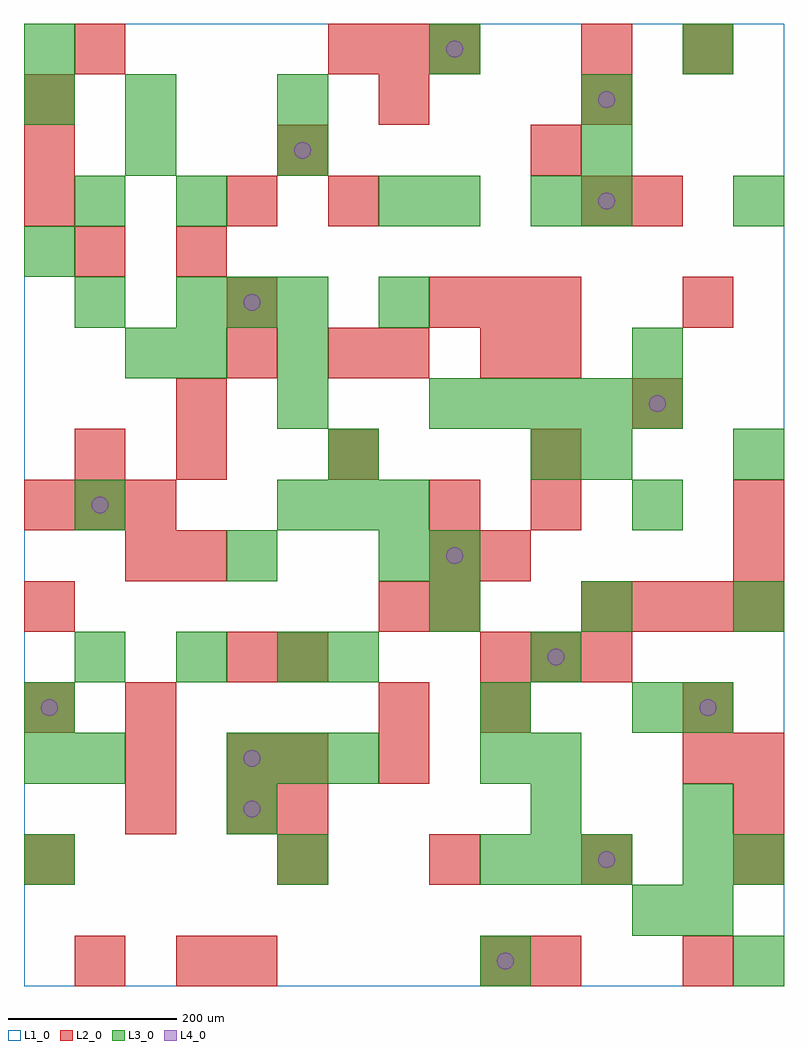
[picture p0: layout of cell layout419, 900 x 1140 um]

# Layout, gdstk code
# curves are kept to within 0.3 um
import gdstk
lib = gdstk.Library(unit=1e-6, precision=1e-09)
def R(c, l, rs):  # rectangles x0, y0, x1, y1
    for r in rs: c.add(gdstk.rectangle(r[:2], r[2:], *l))
def A(c, l, x, y, w, h, nx, ny, dx, dy):  # array of equal rectangles
    R(c, l, [(x+i*dx, y+j*dy, x+i*dx+w, y+j*dy+h) for i in range(nx) for j in range(ny)])
def P(c, l, *ps):  # polygons
    for p in ps: c.add(gdstk.Polygon(p, *l))
L1_0 = (1, 0)
L2_0 = (2, 0)
L3_0 = (3, 0)
L4_0 = (4, 0)

layout419 = lib.new_cell('layout419')
R(layout419, L1_0, [(0,0,900,1140)])
A(layout419, L2_0, 300, 120, 60, 60, 4, 1, 180, 0)
A(layout419, L2_0, 120, 180, 60, 60, 1, 3, 0, 60)
A(layout419, L2_0, 540, 360, 60, 60, 3, 1, 60, 0)
A(layout419, L2_0, 420, 420, 60, 60, 1, 3, 0, 300)
A(layout419, L2_0, 480, 420, 60, 60, 1, 3, 0, 60)
A(layout419, L2_0, 660, 420, 60, 60, 4, 1, 60, 0)
A(layout419, L2_0, 0, 540, 60, 60, 3, 1, 60, 0)
A(layout419, L2_0, 60, 600, 60, 60, 1, 3, 0, 240)
A(layout419, L2_0, 480, 780, 60, 60, 3, 1, 60, 0)
A(layout419, L2_0, 0, 960, 60, 60, 3, 1, 300, 0)
A(layout419, L2_0, 360, 1080, 60, 60, 3, 1, 60, 0)
R(layout419, L2_0, [(60,0,120,60), (180,0,240,60), (240,0,300,60), (540,0,600,60), (600,0,660,60), (780,0,840,60), (0,120,60,180), (240,180,300,240), (300,180,360,240), (840,180,900,240), (240,240,300,300), (300,240,360,300), (420,240,480,300), (780,240,840,300), (840,240,900,300), (0,300,60,360), (420,300,480,360), (540,300,600,360), (780,300,840,360), (240,360,300,420), (300,360,360,420), (0,420,60,480), (120,480,180,540), (180,480,240,540), (540,480,600,540), (840,480,900,540), (600,540,660,600), (840,540,900,600), (180,600,240,660), (360,600,420,660), (600,600,660,660), (180,660,240,720), (720,660,780,720), (240,720,300,780), (360,720,420,780), (540,720,600,780), (600,720,660,780), (240,780,300,840), (780,780,840,840), (180,840,240,900), (0,900,60,960), (240,900,300,960), (360,900,420,960), (660,900,720,960), (720,900,780,960), (0,1020,60,1080), (660,1020,720,1080), (660,1080,720,1140), (780,1080,840,1140)])
A(layout419, L3_0, 720, 60, 60, 60, 1, 3, 0, 240)
A(layout419, L3_0, 780, 60, 60, 60, 1, 3, 0, 60)
A(layout419, L3_0, 540, 120, 60, 60, 3, 1, 60, 0)
A(layout419, L3_0, 240, 240, 60, 60, 3, 1, 60, 0)
A(layout419, L3_0, 60, 360, 60, 60, 3, 1, 120, 0)
A(layout419, L3_0, 480, 420, 60, 60, 3, 1, 180, 0)
A(layout419, L3_0, 300, 540, 60, 60, 3, 1, 60, 0)
A(layout419, L3_0, 480, 660, 60, 60, 5, 1, 60, 0)
A(layout419, L3_0, 180, 780, 60, 60, 3, 1, 60, 0)
A(layout419, L3_0, 660, 900, 60, 60, 1, 3, 0, 60)
R(layout419, L3_0, [(540,0,600,60), (840,0,900,60), (0,120,60,180), (300,120,360,180), (840,120,900,180), (240,180,300,240), (600,180,660,240), (0,240,60,300), (60,240,120,300), (540,240,600,300), (600,240,660,300), (0,300,60,360), (540,300,600,360), (780,300,840,360), (360,360,420,420), (600,360,660,420), (240,480,300,540), (420,480,480,540), (480,480,540,540), (60,540,120,600), (360,600,420,660), (600,600,660,660), (660,600,720,660), (840,600,900,660), (300,660,360,720), (120,720,180,780), (180,720,240,780), (300,720,360,780), (720,720,780,780), (60,780,120,840), (420,780,480,840), (0,840,60,900), (60,900,120,960), (180,900,240,960), (420,900,480,960), (480,900,540,960), (600,900,660,960), (840,900,900,960), (120,960,180,1020), (300,960,360,1020), (0,1020,60,1080), (120,1020,180,1080), (300,1020,360,1080), (0,1080,60,1140), (480,1080,540,1140), (780,1080,840,1140)])
P(layout419, L4_0, [(40,330),(39.239,333.827),(37.071,337.071),(33.827,339.239),(30,340),(26.173,339.239),(22.929,337.071),(20.761,333.827),(20,330),(20.761,326.173),(22.929,322.929),(26.173,320.761),(30,320),(33.827,320.761),(37.071,322.929),(39.239,326.173)],
  [(100,570),(99.239,573.827),(97.071,577.071),(93.827,579.239),(90,580),(86.173,579.239),(82.929,577.071),(80.761,573.827),(80,570),(80.761,566.173),(82.929,562.929),(86.173,560.761),(90,560),(93.827,560.761),(97.071,562.929),(99.239,566.173)],
  [(280,210),(279.239,213.827),(277.071,217.071),(273.827,219.239),(270,220),(266.173,219.239),(262.929,217.071),(260.761,213.827),(260,210),(260.761,206.173),(262.929,202.929),(266.173,200.761),(270,200),(273.827,200.761),(277.071,202.929),(279.239,206.173)],
  [(280,270),(279.239,273.827),(277.071,277.071),(273.827,279.239),(270,280),(266.173,279.239),(262.929,277.071),(260.761,273.827),(260,270),(260.761,266.173),(262.929,262.929),(266.173,260.761),(270,260),(273.827,260.761),(277.071,262.929),(279.239,266.173)],
  [(280,810),(279.239,813.827),(277.071,817.071),(273.827,819.239),(270,820),(266.173,819.239),(262.929,817.071),(260.761,813.827),(260,810),(260.761,806.173),(262.929,802.929),(266.173,800.761),(270,800),(273.827,800.761),(277.071,802.929),(279.239,806.173)],
  [(340,990),(339.239,993.827),(337.071,997.071),(333.827,999.239),(330,1000),(326.173,999.239),(322.929,997.071),(320.761,993.827),(320,990),(320.761,986.173),(322.929,982.929),(326.173,980.761),(330,980),(333.827,980.761),(337.071,982.929),(339.239,986.173)],
  [(520,510),(519.239,513.827),(517.071,517.071),(513.827,519.239),(510,520),(506.173,519.239),(502.929,517.071),(500.761,513.827),(500,510),(500.761,506.173),(502.929,502.929),(506.173,500.761),(510,500),(513.827,500.761),(517.071,502.929),(519.239,506.173)],
  [(520,1110),(519.239,1113.827),(517.071,1117.071),(513.827,1119.239),(510,1120),(506.173,1119.239),(502.929,1117.071),(500.761,1113.827),(500,1110),(500.761,1106.173),(502.929,1102.929),(506.173,1100.761),(510,1100),(513.827,1100.761),(517.071,1102.929),(519.239,1106.173)],
  [(580,30),(579.239,33.827),(577.071,37.071),(573.827,39.239),(570,40),(566.173,39.239),(562.929,37.071),(560.761,33.827),(560,30),(560.761,26.173),(562.929,22.929),(566.173,20.761),(570,20),(573.827,20.761),(577.071,22.929),(579.239,26.173)],
  [(640,390),(639.239,393.827),(637.071,397.071),(633.827,399.239),(630,400),(626.173,399.239),(622.929,397.071),(620.761,393.827),(620,390),(620.761,386.173),(622.929,382.929),(626.173,380.761),(630,380),(633.827,380.761),(637.071,382.929),(639.239,386.173)],
  [(700,150),(699.239,153.827),(697.071,157.071),(693.827,159.239),(690,160),(686.173,159.239),(682.929,157.071),(680.761,153.827),(680,150),(680.761,146.173),(682.929,142.929),(686.173,140.761),(690,140),(693.827,140.761),(697.071,142.929),(699.239,146.173)],
  [(700,930),(699.239,933.827),(697.071,937.071),(693.827,939.239),(690,940),(686.173,939.239),(682.929,937.071),(680.761,933.827),(680,930),(680.761,926.173),(682.929,922.929),(686.173,920.761),(690,920),(693.827,920.761),(697.071,922.929),(699.239,926.173)],
  [(700,1050),(699.239,1053.827),(697.071,1057.071),(693.827,1059.239),(690,1060),(686.173,1059.239),(682.929,1057.071),(680.761,1053.827),(680,1050),(680.761,1046.173),(682.929,1042.929),(686.173,1040.761),(690,1040),(693.827,1040.761),(697.071,1042.929),(699.239,1046.173)],
  [(760,690),(759.239,693.827),(757.071,697.071),(753.827,699.239),(750,700),(746.173,699.239),(742.929,697.071),(740.761,693.827),(740,690),(740.761,686.173),(742.929,682.929),(746.173,680.761),(750,680),(753.827,680.761),(757.071,682.929),(759.239,686.173)],
  [(820,330),(819.239,333.827),(817.071,337.071),(813.827,339.239),(810,340),(806.173,339.239),(802.929,337.071),(800.761,333.827),(800,330),(800.761,326.173),(802.929,322.929),(806.173,320.761),(810,320),(813.827,320.761),(817.071,322.929),(819.239,326.173)])

lib.write_gds('layout419.gds')
